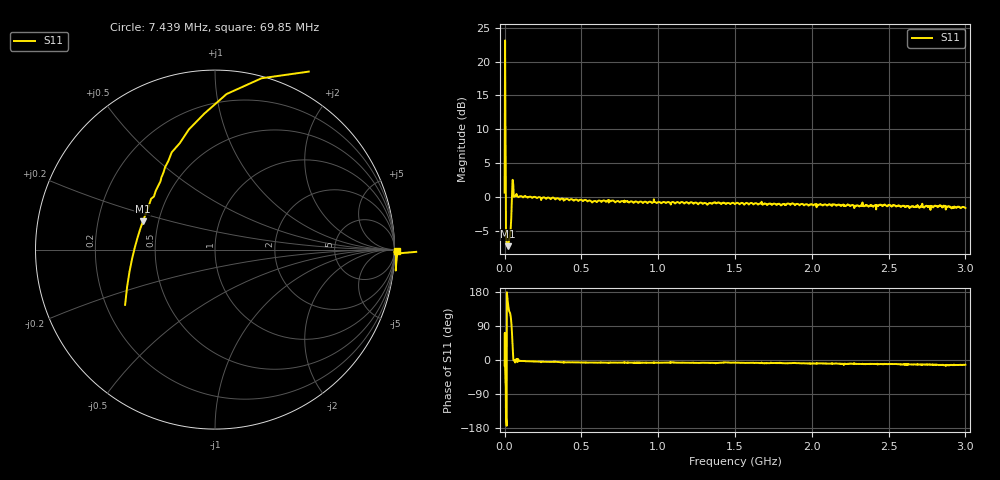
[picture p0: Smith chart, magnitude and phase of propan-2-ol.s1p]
# HZ S RI R 50
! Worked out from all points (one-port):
!   2020 points, 10 kHz to 3 GHz, reference 50 ohm
!   lowest |S11| = -7.3 dB at 19.33 MHz (marker M1), VSWR 2.52, Z = 20.4 + j7.9 ohm
!   |S11| at or under -10 dB: nowhere
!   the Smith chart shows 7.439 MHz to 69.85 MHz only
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10000  1.041 -0.2668
7439395  0.562 -1.626
1.635467e7  -0.432 0.0652
1.784055e7  -0.417 0.1138
1.932643e7  -0.4018 0.1572
2.081231e7  -0.3871 0.1963
2.229818e7  -0.3727 0.2325
2.378406e7  -0.356 0.2832
2.972758e7  -0.3041 0.3798
3.269934e7  -0.299 0.4012
3.56711e7  -0.2858 0.4338
3.864285e7  -0.26 0.4934
4.755813e7  0.2592 0.9546
5.795928e7  1.121 -0.0125
6.241692e7  1.003 -0.0206
6.687456e7  1.011 -0.032
6.984631e7  1.014 -0.0077
7.281807e7  1.015 -0.0462
9.510626e7  1.001 -0.0443
3.759374e8  0.9654 -0.1
7.503789e8  0.9048 -0.1094
1.126306e9  0.9057 -0.1144
1.500748e9  0.8758 -0.1079
1.875189e9  0.8854 -0.1224
2.251117e9  0.8417 -0.144
2.625558e9  0.835 -0.1779
2.8737e9  0.8246 -0.1996
3e9  0.8065 -0.1779
